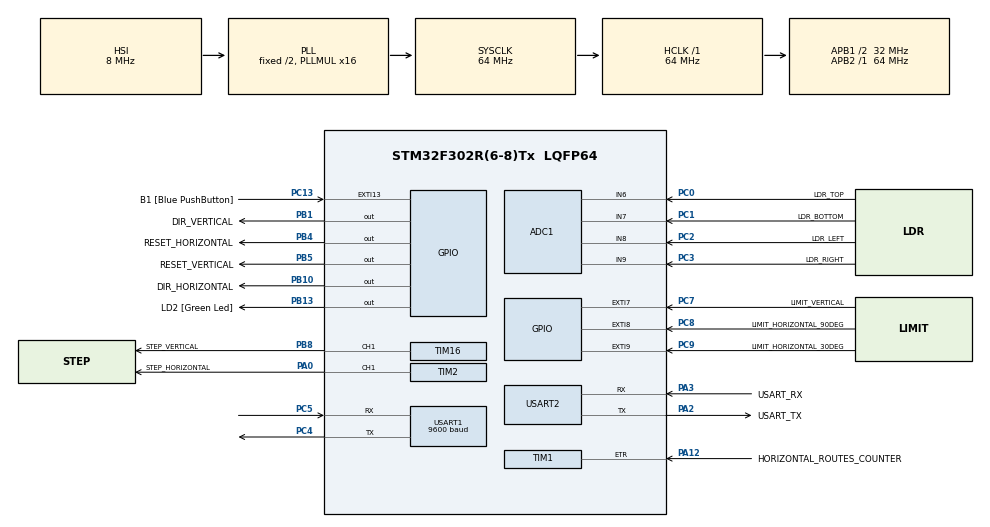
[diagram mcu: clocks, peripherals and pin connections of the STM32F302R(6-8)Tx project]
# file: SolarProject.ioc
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ADC1.Channel-0\#ChannelRegularConversion=ADC_CHANNEL_6
ADC1.Channel-1\#ChannelRegularConversion=ADC_CHANNEL_7
ADC1.Channel-2\#ChannelRegularConversion=ADC_CHANNEL_8
ADC1.Channel-3\#ChannelRegularConversion=ADC_CHANNEL_9
ADC1.ClockPrescaler=ADC_CLOCK_ASYNC_DIV1
ADC1.ContinuousConvMode=DISABLE
ADC1.DMAContinuousRequests=ENABLE
ADC1.NbrOfConversion=4
ADC1.NbrOfConversionFlag=1
ADC1.Offset-0\#ChannelRegularConversion=0
ADC1.Offset-1\#ChannelRegularConversion=0
ADC1.Offset-2\#ChannelRegularConversion=0
ADC1.Offset-3\#ChannelRegularConversion=0
ADC1.OffsetNumber-0\#ChannelRegularConversion=ADC_OFFSET_NONE
ADC1.OffsetNumber-1\#ChannelRegularConversion=ADC_OFFSET_NONE
ADC1.OffsetNumber-2\#ChannelRegularConversion=ADC_OFFSET_NONE
ADC1.OffsetNumber-3\#ChannelRegularConversion=ADC_OFFSET_NONE
ADC1.Rank-0\#ChannelRegularConversion=1
ADC1.Rank-1\#ChannelRegularConversion=2
ADC1.Rank-2\#ChannelRegularConversion=3
ADC1.Rank-3\#ChannelRegularConversion=4
ADC1.SamplingTime-0\#ChannelRegularConversion=ADC_SAMPLETIME_181CYCLES_5
ADC1.SamplingTime-1\#ChannelRegularConversion=ADC_SAMPLETIME_61CYCLES_5
ADC1.SamplingTime-2\#ChannelRegularConversion=ADC_SAMPLETIME_1CYCLE_5
ADC1.SamplingTime-3\#ChannelRegularConversion=ADC_SAMPLETIME_1CYCLE_5
ADC1.SamplingTimeOPAMP-1\#ChannelRegularConversion=ADC_SAMPLETIME_61CYCLES_5
ADC1.SamplingTimeOPAMP-2\#ChannelRegularConversion=ADC_SAMPLETIME_61CYCLES_5
ADC1.SamplingTimeOPAMP-3\#ChannelRegularConversion=ADC_SAMPLETIME_61CYCLES_5
ADC1.SubFamily=STM32F302x8
ADC1.master=1
Dma.ADC1.0.Direction=DMA_PERIPH_TO_MEMORY
Dma.ADC1.0.Instance=DMA1_Channel1
Dma.ADC1.0.MemDataAlignment=DMA_MDATAALIGN_HALFWORD
Dma.ADC1.0.MemInc=DMA_MINC_ENABLE
Dma.ADC1.0.Mode=DMA_NORMAL
Dma.ADC1.0.PeriphDataAlignment=DMA_PDATAALIGN_HALFWORD
Dma.ADC1.0.PeriphInc=DMA_PINC_DISABLE
Dma.ADC1.0.Priority=DMA_PRIORITY_LOW
Dma.Request0=ADC1
Dma.Request1=USART1_RX
Dma.Request2=USART1_TX
Dma.Request3=USART2_RX
Dma.USART1_RX.1.Direction=DMA_PERIPH_TO_MEMORY
Dma.USART1_RX.1.Instance=DMA1_Channel5
Dma.USART1_RX.1.MemDataAlignment=DMA_MDATAALIGN_BYTE
Dma.USART1_RX.1.MemInc=DMA_MINC_ENABLE
Dma.USART1_RX.1.Mode=DMA_NORMAL
Dma.USART1_RX.1.PeriphDataAlignment=DMA_PDATAALIGN_BYTE
Dma.USART1_RX.1.PeriphInc=DMA_PINC_DISABLE
Dma.USART1_RX.1.Priority=DMA_PRIORITY_VERY_HIGH
Dma.USART1_TX.2.Direction=DMA_MEMORY_TO_PERIPH
Dma.USART1_TX.2.Instance=DMA1_Channel4
Dma.USART1_TX.2.MemDataAlignment=DMA_MDATAALIGN_BYTE
Dma.USART1_TX.2.MemInc=DMA_MINC_ENABLE
Dma.USART1_TX.2.Mode=DMA_NORMAL
Dma.USART1_TX.2.PeriphDataAlignment=DMA_PDATAALIGN_BYTE
Dma.USART1_TX.2.PeriphInc=DMA_PINC_DISABLE
Dma.USART1_TX.2.Priority=DMA_PRIORITY_VERY_HIGH
Dma.USART2_RX.3.Direction=DMA_PERIPH_TO_MEMORY
Dma.USART2_RX.3.Instance=DMA1_Channel6
Dma.USART2_RX.3.MemDataAlignment=DMA_MDATAALIGN_BYTE
Dma.USART2_RX.3.MemInc=DMA_MINC_ENABLE
Dma.USART2_RX.3.Mode=DMA_NORMAL
Dma.USART2_RX.3.PeriphDataAlignment=DMA_PDATAALIGN_BYTE
Dma.USART2_RX.3.PeriphInc=DMA_PINC_DISABLE
Dma.USART2_RX.3.Priority=DMA_PRIORITY_LOW
FREERTOS.BinarySemaphores01=MotorControlSemaphore,Dynamic,NULL;LimiterSemaphore,Dynamic,NULL;RxUARTSemaphore,Dynamic,NULL
FREERTOS.Queues01=LDRResistance,10,LDRresistance_t,0,Dynamic,NULL,NULL
FREERTOS.Tasks01=RxUART,1,256,StartRxUART,Default,NULL,Dynamic,NULL,NULL;ADC2Resistance,0,128,StartADC2Resistance,Default,NULL,Dynamic,NULL,NULL;MotorControl,0,128,StartMotorControl,Default,NULL,Dynamic,NULL,NULL;LimiterHandling,1,128,StartLimiterHandling,Default,NULL,Dynamic,NULL,NULL;TxUART,0,128,StartTask05,Default,NULL,Dynamic,NULL,NULL
FREERTOS.configTOTAL_HEAP_SIZE=6000
FREERTOS.configUSE_RECURSIVE_MUTEXES=1
Mcu.Family=STM32F3
Mcu.Name=STM32F302R(6-8)Tx
Mcu.Package=LQFP64
NVIC.DMA1_Channel1_IRQn=true\:5\:0\:false\:false\:true\:true\:false\:true\:true
NVIC.DMA1_Channel4_IRQn=true\:5\:0\:false\:false\:true\:true\:false\:true\:true
NVIC.DMA1_Channel5_IRQn=true\:5\:0\:false\:false\:true\:true\:false\:true\:true
NVIC.DMA1_Channel6_IRQn=true\:5\:0\:false\:false\:true\:true\:false\:true\:true
NVIC.EXTI15_10_IRQn=true\:5\:0\:true\:false\:true\:true\:true\:true\:true
NVIC.EXTI9_5_IRQn=true\:5\:0\:true\:false\:true\:true\:true\:true\:true
NVIC.PriorityGroup=NVIC_PRIORITYGROUP_4
NVIC.TIM1_BRK_TIM15_IRQn=true\:5\:0\:false\:false\:true\:true\:true\:true\:true
NVIC.TIM1_UP_TIM16_IRQn=true\:5\:0\:false\:false\:true\:true\:true\:true\:true
NVIC.TIM6_DAC_IRQn=true\:15\:0\:true\:false\:true\:false\:false\:true\:true
NVIC.TimeBase=TIM6_DAC_IRQn
NVIC.TimeBaseIP=TIM6
NVIC.USART1_IRQn=true\:5\:0\:true\:false\:true\:true\:true\:true\:true
NVIC.USART2_IRQn=true\:5\:0\:false\:false\:true\:true\:true\:true\:true
PA0.GPIO_Label=STEP_HORIZONTAL
PA0.GPIO_PuPd=GPIO_PULLDOWN
PA0.Signal=S_TIM2_CH1_ETR
PA12.GPIO_Label=HORIZONTAL_ROUTES_COUNTER
PA12.Signal=S_TIM1_ETR
PA13.GPIO_Label=TMS
PA13.Mode=Serial_Wire
PA13.Signal=SYS_JTMS-SWDIO
PA14.GPIO_Label=TCK
PA14.Mode=Serial_Wire
PA14.Signal=SYS_JTCK-SWCLK
PA2.GPIO_Label=USART_TX
PA2.GPIO_Mode=GPIO_MODE_AF_PP
PA2.GPIO_PuPd=GPIO_NOPULL
PA2.GPIO_Speed=GPIO_SPEED_FREQ_LOW
PA2.Mode=Asynchronous
PA2.Signal=USART2_TX
PA3.GPIO_Label=USART_RX
PA3.GPIO_Mode=GPIO_MODE_AF_PP
PA3.GPIO_PuPd=GPIO_NOPULL
PA3.GPIO_Speed=GPIO_SPEED_FREQ_LOW
PA3.Mode=Asynchronous
PA3.Signal=USART2_RX
PB1.GPIO_Label=DIR_VERTICAL
PB1.GPIO_Speed=GPIO_SPEED_FREQ_HIGH
PB1.Signal=GPIO_Output
PB10.GPIO_Label=DIR_HORIZONTAL
PB10.Signal=GPIO_Output
PB13.GPIO_Label=LD2 [Green Led]
PB13.Signal=GPIO_Output
PB3.GPIO_Label=SWO
PB3.Mode=Trace_Asynchronous_SW
PB3.Signal=SYS_JTDO-TRACESWO
PB4.GPIO_Label=RESET_HORIZONTAL
PB4.GPIO_Speed=GPIO_SPEED_FREQ_HIGH
PB4.Signal=GPIO_Output
PB5.GPIO_Label=RESET_VERTICAL
PB5.GPIO_PuPd=GPIO_NOPULL
PB5.Signal=GPIO_Output
PB8.GPIO_Label=STEP_VERTICAL
PB8.GPIO_PuPd=GPIO_PULLDOWN
PB8.Signal=S_TIM16_CH1
PC0.GPIO_Label=LDR_TOP
PC0.Signal=ADCx_IN6
PC1.GPIO_Label=LDR_BOTTOM
PC1.Signal=ADCx_IN7
PC13.GPIO_Label=B1 [Blue PushButton]
PC13.GPIO_ModeDefaultEXTI=GPIO_MODE_IT_FALLING
PC13.Signal=GPXTI13
PC14\ -\ OSC32_IN.Mode=LSE-External-Oscillator
PC14\ -\ OSC32_IN.Signal=RCC_OSC32_IN
PC15\ -\ OSC32_OUT.Mode=LSE-External-Oscillator
PC15\ -\ OSC32_OUT.Signal=RCC_OSC32_OUT
PC2.GPIO_Label=LDR_LEFT
PC2.Signal=ADCx_IN8
PC3.GPIO_Label=LDR_RIGHT
PC3.Signal=ADCx_IN9
PC4.Mode=Asynchronous
PC4.Signal=USART1_TX
PC5.Mode=Asynchronous
PC5.Signal=USART1_RX
PC7.GPIO_Label=LIMIT_VERTICAL
PC7.GPIO_ModeDefaultEXTI=GPIO_MODE_IT_RISING_FALLING
PC7.GPIO_PuPd=GPIO_PULLDOWN
PC7.Signal=GPXTI7
PC8.GPIO_Label=LIMIT_HORIZONTAL_90DEG
PC8.GPIO_ModeDefaultEXTI=GPIO_MODE_IT_RISING_FALLING
PC8.GPIO_PuPd=GPIO_PULLDOWN
PC8.Signal=GPXTI8
PC9.GPIO_Label=LIMIT_HORIZONTAL_30DEG
PC9.GPIO_ModeDefaultEXTI=GPIO_MODE_IT_RISING_FALLING
PC9.GPIO_PuPd=GPIO_PULLDOWN
PC9.Signal=GPXTI9
PF0-OSC_IN.Mode=HSE-External-Clock-Source
PF0-OSC_IN.Signal=RCC_OSC_IN
PF1-OSC_OUT.Signal=RCC_OSC_OUT
ProjectManager.HeapSize=0x200
ProjectManager.StackSize=0x400
ProjectManager.TargetToolchain=STM32CubeIDE
RCC.AHBFreq_Value=64000000
RCC.APB1CLKDivider=RCC_HCLK_DIV2
RCC.APB1Freq_Value=32000000
RCC.APB1TimFreq_Value=64000000
RCC.APB2Freq_Value=64000000
RCC.APB2TimFreq_Value=64000000
RCC.CortexFreq_Value=64000000
RCC.HCLKFreq_Value=64000000
RCC.HSE_VALUE=8000000
RCC.HSI_VALUE=8000000
RCC.PLLM=8
RCC.PLLMUL=RCC_PLL_MUL16
RCC.PLLN=336
RCC.PLLP=RCC_PLLP_DIV4
RCC.PLLQ=7
RCC.RCC_PLLsource_Clock_Source_FROM_HSE=RCC_HSE_PREDIV_DIV2
RCC.SYSCLKFreq_VALUE=64000000
RCC.SYSCLKSourceVirtual=RCC_SYSCLKSOURCE_PLLCLK
RCC.USBFreq_Value=64000000
SH.ADCx_IN6.0=ADC1_IN6,IN6-Single-Ended
SH.ADCx_IN7.0=ADC1_IN7,IN7-Single-Ended
SH.ADCx_IN8.0=ADC1_IN8,IN8-Single-Ended
SH.ADCx_IN9.0=ADC1_IN9,IN9-Single-Ended
SH.S_TIM16_CH1.0=TIM16_CH1,PWM Generation1 CH1
SH.S_TIM1_ETR.0=TIM1_ETR,TriggerSource_ETR
SH.S_TIM2_CH1_ETR.0=TIM2_CH1,PWM Generation1 CH1
TIM1.AutoReloadPreload=TIM_AUTORELOAD_PRELOAD_ENABLE
TIM1.Period=53-1
TIM1.Prescaler=0
TIM1.RepetitionCounter=0
TIM1.TIM_MasterOutputTrigger=TIM_TRGO_RESET
TIM1.TIM_MasterSlaveMode=TIM_MASTERSLAVEMODE_DISABLE
TIM15.AutoReloadPreload=TIM_AUTORELOAD_PRELOAD_ENABLE
TIM15.Period=1976 - 1
TIM15.Prescaler=0
TIM15.RepetitionCounter=0
TIM15.TIM_MasterOutputTrigger=TIM_TRGO_RESET
TIM16.Channel=TIM_CHANNEL_1
TIM16.Period=1999
TIM16.Prescaler=63
TIM16.Pulse=1000
TIM2.AutoReloadPreload=TIM_AUTORELOAD_PRELOAD_ENABLE
TIM2.Channel-Forced\ Output2\ CH2=TIM_CHANNEL_2
TIM2.Channel-PWM\ Generation1\ CH1=TIM_CHANNEL_1
TIM2.Period=999
TIM2.Prescaler=63
TIM2.Pulse-PWM\ Generation1\ CH1=500
TIM2.TIM_MasterOutputTrigger=TIM_TRGO_UPDATE
TIM2.TIM_MasterSlaveMode=TIM_MASTERSLAVEMODE_ENABLE
USART1.BaudRate=9600
USART1.VirtualMode-Asynchronous=VM_ASYNC
USART2.VirtualMode-Asynchronous=VM_ASYNC
VP_FREERTOS_VS_CMSIS_V1.Mode=CMSIS_V1
VP_SYS_VS_tim6.Mode=TIM6
VP_TIM15_VS_ClockSourceITR.Mode=TriggerSource_ITR0
VP_TIM15_VS_ControllerModeClock.Mode=Clock Mode
VP_TIM16_VS_ClockSourceINT.Mode=Enable_Timer
VP_TIM1_VS_ControllerModeClock.Mode=Clock Mode
VP_TIM2_VS_ClockSourceINT.Mode=Internal
board=NUCLEO-F302R8

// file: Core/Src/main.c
/* USER CODE BEGIN Header */
/**
  ******************************************************************************
  * @file           : main.c
  * @brief          : Main program body
  ******************************************************************************
  * @attention
  *
  * Copyright (c) 2024 STMicroelectronics.
  * All rights reserved.
  *
  * This software is licensed under terms that can be found in the LICENSE file
  * in the root directory of this software component.
  * If no LICENSE file comes with this software, it is provided AS-IS.
  *
  ******************************************************************************
  */
/* USER CODE END Header */
#include "main.h"
#include "cmsis_os.h"
#include "adc.h"
#include "dma.h"
#include "tim.h"
#include "usart.h"
#include "gpio.h"

/* USER CODE BEGIN Includes */
#include "FreeRTOSConfig.h"
#include "FreeRTOS.h"
#include <Service/dataType.h>
#include <Service/uartService.h>
#include <Service/sensorService.h>
#include <Service/motorService.h>

/* USER CODE END Includes */

void SystemClock_Config(void);
void MX_FREERTOS_Init(void);
/* USER CODE BEGIN PFP */
void MotorandModeInit(MotorState_t* HorizontalMotor, MotorState_t* VerticalMotor, ModeState_t* ModeState);
/* USER CODE END PFP */

/* USER CODE BEGIN 0 */
extern osSemaphoreId MotorControlSemaphoreHandle;
extern osSemaphoreId LimiterSemaphoreHandle;
extern osSemaphoreId RxUARTSemaphoreHandle;

extern volatile MotorState_t* horizontalMotorHandle;
extern volatile MotorState_t* verticalMotorHandle;
extern volatile ModeState_t* modeStateHandle;

extern volatile uint8_t limitSwitch[3];
volatile uint8_t initializeFlag;

/*-------------UART TRANSMITION--------*/
extern volatile uint8_t RxBuffor[9];
volatile uint8_t RxBuffor2[9];

void HAL_GPIO_EXTI_Callback(uint16_t GPIO_Pin)
{

	BaseType_t xHigherPriorityTaskWoken = pdFALSE;

	if (GPIO_Pin == LIMIT_HORIZONTAL_30DEG_Pin || GPIO_Pin == LIMIT_HORIZONTAL_90DEG_Pin ||  GPIO_Pin == LIMIT_VERTICAL_Pin)
	{
		if (initializeFlag == 0)
		{
			SensorServiceReadLimiter(limitSwitch);
		}
		else
		{
			xSemaphoreGiveFromISR(MotorControlSemaphoreHandle, &xHigherPriorityTaskWoken);
			xSemaphoreGiveFromISR(LimiterSemaphoreHandle, &xHigherPriorityTaskWoken);
		}
	}
}

void HAL_UART_RxCpltCallback(UART_HandleTypeDef *huart)
{
	if (huart->Instance == USART1)
	{
		HAL_UART_Receive_DMA(&huart1, RxBuffor, 9);
		BaseType_t xHigherPriorityTaskWoken = pdFALSE;
		xSemaphoreGiveFromISR(RxUARTSemaphoreHandle, &xHigherPriorityTaskWoken);
	}
}

void MotorandModeInit(MotorState_t* HorizontalMotor, MotorState_t* VerticalMotor, ModeState_t* ModeState)
{
	MotorServiceMotorInit(HorizontalMotor, VerticalMotor, ModeState);
	SensorServiceReadLimiter(limitSwitch);

	while (limitSwitch[0] || limitSwitch[2])
	{
		MotorServiceMotorHoming(HorizontalMotor, limitSwitch);
		MotorServiceMotorHoming(VerticalMotor, limitSwitch);
	}

	HorizontalMotor->CURRENTPOSITION = 30;
	VerticalMotor->CURRENTPOSITION = 0;
	initializeFlag = 1;
}

/* USER CODE END 0 */

int main(void)
{

  /* MCU Configuration--------------------------------------------------------*/

  /* Reset of all peripherals, Initializes the Flash interface and the Systick. */
  HAL_Init();

  /* Configure the system clock */
  SystemClock_Config();

  /* Initialize all configured peripherals */
  MX_GPIO_Init();
  MX_DMA_Init();
  MX_USART2_UART_Init();
  MX_ADC1_Init();
  MX_TIM1_Init();
  MX_TIM15_Init();
  MX_TIM2_Init();
  MX_USART1_UART_Init();
  MX_TIM16_Init();
  /* USER CODE BEGIN 2 */
  HAL_TIM_Base_Start_IT(&htim15); // counting the PWM impulse from TIM2
  HAL_TIM_Base_Start_IT(&htim1); // counting the PWM impulse from TIM16

  MotorandModeInit(horizontalMotorHandle, verticalMotorHandle, modeStateHandle);
  HAL_UART_Receive_DMA(&huart1, RxBuffor, 9);
  /* USER CODE END 2 */

  /* Call init function for freertos objects (in freertos.c) */
  MX_FREERTOS_Init();

  /* Start scheduler */
  osKernelStart();

  /* We should never get here as control is now taken by the scheduler */
  /* Infinite loop */
  while (1)
  {

  }
}

void SystemClock_Config(void)
{
  RCC_OscInitTypeDef RCC_OscInitStruct = {0};
  RCC_ClkInitTypeDef RCC_ClkInitStruct = {0};
  RCC_PeriphCLKInitTypeDef PeriphClkInit = {0};

  /** Initializes the RCC Oscillators according to the specified parameters
  * in the RCC_OscInitTypeDef structure.
  */
  RCC_OscInitStruct.OscillatorType = RCC_OSCILLATORTYPE_HSI;
  RCC_OscInitStruct.HSIState = RCC_HSI_ON;
  RCC_OscInitStruct.HSICalibrationValue = RCC_HSICALIBRATION_DEFAULT;
  RCC_OscInitStruct.PLL.PLLState = RCC_PLL_ON;
  RCC_OscInitStruct.PLL.PLLSource = RCC_PLLSOURCE_HSI;
  RCC_OscInitStruct.PLL.PLLMUL = RCC_PLL_MUL16;
  if (HAL_RCC_OscConfig(&RCC_OscInitStruct) != HAL_OK)
  {
    Error_Handler();
  }

  /** Initializes the CPU, AHB and APB buses clocks
  */
  RCC_ClkInitStruct.ClockType = RCC_CLOCKTYPE_HCLK|RCC_CLOCKTYPE_SYSCLK
                              |RCC_CLOCKTYPE_PCLK1|RCC_CLOCKTYPE_PCLK2;
  RCC_ClkInitStruct.SYSCLKSource = RCC_SYSCLKSOURCE_PLLCLK;
  RCC_ClkInitStruct.AHBCLKDivider = RCC_SYSCLK_DIV1;
  RCC_ClkInitStruct.APB1CLKDivider = RCC_HCLK_DIV2;
  RCC_ClkInitStruct.APB2CLKDivider = RCC_HCLK_DIV1;

  if (HAL_RCC_ClockConfig(&RCC_ClkInitStruct, FLASH_LATENCY_2) != HAL_OK)
  {
    Error_Handler();
  }
  PeriphClkInit.PeriphClockSelection = RCC_PERIPHCLK_USART1|RCC_PERIPHCLK_TIM1
                              |RCC_PERIPHCLK_TIM15|RCC_PERIPHCLK_TIM16
                              |RCC_PERIPHCLK_ADC1;
  PeriphClkInit.Usart1ClockSelection = RCC_USART1CLKSOURCE_PCLK1;
  PeriphClkInit.Tim1ClockSelection = RCC_TIM1CLK_HCLK;
  PeriphClkInit.Tim15ClockSelection = RCC_TIM15CLK_HCLK;
  PeriphClkInit.Tim16ClockSelection = RCC_TIM16CLK_HCLK;
  PeriphClkInit.Adc1ClockSelection = RCC_ADC1PLLCLK_DIV1;

  if (HAL_RCCEx_PeriphCLKConfig(&PeriphClkInit) != HAL_OK)
  {
    Error_Handler();
  }
}

void HAL_TIM_PeriodElapsedCallback(TIM_HandleTypeDef *htim)
{
  if (htim->Instance == TIM6) {
    HAL_IncTick();
  }
  /* USER CODE BEGIN Callback 1 */
  if (htim->Instance == TIM15)
  {
	 MotorServiceHorizontalCurrentPosition(horizontalMotorHandle);
  }
  if (htim->Instance == TIM1)
  {
	 MotorServiceVerticalCurrentPosition(verticalMotorHandle);
  }
  /* USER CODE END Callback 1 */
}

void Error_Handler(void)
{
  __disable_irq();
  while (1)
  {
  }
}

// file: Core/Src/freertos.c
/* USER CODE BEGIN Header */
/**
  ******************************************************************************
  * File Name          : freertos.c
  * Description        : Code for freertos applications
  ******************************************************************************
  * @attention
  *
  * Copyright (c) 2024 STMicroelectronics.
  * All rights reserved.
  *
  * This software is licensed under terms that can be found in the LICENSE file
  * in the root directory of this software component.
  * If no LICENSE file comes with this software, it is provided AS-IS.
  *
  ******************************************************************************
  */
/* USER CODE END Header */

#include "FreeRTOS.h"
#include "task.h"
#include "main.h"
#include "cmsis_os.h"

/* USER CODE BEGIN Includes */
#include <Service/dataType.h>
#include <Service/sensorService.h>
#include <Service/motorService.h>
#include "adc.h"
/* USER CODE END Includes */

/* USER CODE BEGIN Variables */
extern volatile uint8_t limitSwitch[3];
extern volatile MotorState_t* horizontalMotorHandle;
extern volatile MotorState_t* verticalMotorHandle;
extern volatile ModeState_t* modeStateHandle;
extern volatile uint32_t measurement[4];
extern volatile uint8_t RxBuffor[9];

/* USER CODE END Variables */
osThreadId RxUARTHandle;
osThreadId ADC2ResistanceHandle;
osThreadId MotorControlHandle;
osThreadId LimiterHandlingHandle;
osThreadId TxUARTHandle;
osMessageQId LDRResistanceHandle;
osSemaphoreId MotorControlSemaphoreHandle;
osSemaphoreId LimiterSemaphoreHandle;
osSemaphoreId RxUARTSemaphoreHandle;

void StartRxUART(void const * argument);
void StartADC2Resistance(void const * argument);
void StartMotorControl(void const * argument);
void StartLimiterHandling(void const * argument);
void StartTask05(void const * argument);

void MX_FREERTOS_Init(void); /* (MISRA C 2004 rule 8.1) */

/* GetIdleTaskMemory prototype (linked to static allocation support) */
void vApplicationGetIdleTaskMemory( StaticTask_t **ppxIdleTaskTCBBuffer, StackType_t **ppxIdleTaskStackBuffer, uint32_t *pulIdleTaskStackSize );

/* USER CODE BEGIN GET_IDLE_TASK_MEMORY */
static StaticTask_t xIdleTaskTCBBuffer;
static StackType_t xIdleStack[configMINIMAL_STACK_SIZE];

void vApplicationGetIdleTaskMemory( StaticTask_t **ppxIdleTaskTCBBuffer, StackType_t **ppxIdleTaskStackBuffer, uint32_t *pulIdleTaskStackSize )
{
  *ppxIdleTaskTCBBuffer = &xIdleTaskTCBBuffer;
  *ppxIdleTaskStackBuffer = &xIdleStack[0];
  *pulIdleTaskStackSize = configMINIMAL_STACK_SIZE;
  /* place for user code */
}
/* USER CODE END GET_IDLE_TASK_MEMORY */

void MX_FREERTOS_Init(void) {

  /* Create the semaphores(s) */
  /* definition and creation of MotorControlSemaphore */
  osSemaphoreDef(MotorControlSemaphore);
  MotorControlSemaphoreHandle = osSemaphoreCreate(osSemaphore(MotorControlSemaphore), 1);

  /* definition and creation of LimiterSemaphore */
  osSemaphoreDef(LimiterSemaphore);
  LimiterSemaphoreHandle = osSemaphoreCreate(osSemaphore(LimiterSemaphore), 1);

  /* definition and creation of RxUARTSemaphore */
  osSemaphoreDef(RxUARTSemaphore);
  RxUARTSemaphoreHandle = osSemaphoreCreate(osSemaphore(RxUARTSemaphore), 1);

  /* Create the queue(s) */
  /* definition and creation of LDRResistance */
  osMessageQDef(LDRResistance, 10, LDRresistance_t);
  LDRResistanceHandle = osMessageCreate(osMessageQ(LDRResistance), NULL);

  /* Create the thread(s) */
  /* definition and creation of RxUART */
  osThreadDef(RxUART, StartRxUART, osPriorityAboveNormal, 0, 256);
  RxUARTHandle = osThreadCreate(osThread(RxUART), NULL);

  /* definition and creation of ADC2Resistance */
  osThreadDef(ADC2Resistance, StartADC2Resistance, osPriorityNormal, 0, 128);
  ADC2ResistanceHandle = osThreadCreate(osThread(ADC2Resistance), NULL);

  /* definition and creation of MotorControl */
  osThreadDef(MotorControl, StartMotorControl, osPriorityNormal, 0, 128);
  MotorControlHandle = osThreadCreate(osThread(MotorControl), NULL);

  /* definition and creation of LimiterHandling */
  osThreadDef(LimiterHandling, StartLimiterHandling, osPriorityAboveNormal, 0, 128);
  LimiterHandlingHandle = osThreadCreate(osThread(LimiterHandling), NULL);

  /* definition and creation of TxUART */
  osThreadDef(TxUART, StartTask05, osPriorityNormal, 0, 128);
  TxUARTHandle = osThreadCreate(osThread(TxUART), NULL);

}

void StartRxUART(void const * argument)
{
  /* USER CODE BEGIN StartRxUART */
	xSemaphoreTake(RxUARTSemaphoreHandle, portMAX_DELAY );
  /* Infinite loop */
  for(;;)
  {
	  if(xSemaphoreTake(RxUARTSemaphoreHandle, portMAX_DELAY ) == pdTRUE)
	  {
		  uartServiceManualModePositionSettings(modeStateHandle, RxBuffor);
	  }
  }
  /* USER CODE END StartRxUART */
}

void StartADC2Resistance(void const * argument)
{
  /* USER CODE BEGIN StartADC2Resistance */
  /* Infinite loop */
	LDRresistance_t LDRresistance = {0};
  /* Infinite loop */
  for(;;)
  {
	  HAL_ADC_Start_DMA(&hadc1, (uint32_t*) measurement, 4);
	  SensorServiceADC2Resistance((uint16_t*) measurement, &LDRresistance);
	  xQueueSend(LDRResistanceHandle, &LDRresistance, 0);
	  osDelay(10);
  }
  /* USER CODE END StartADC2Resistance */
}

void StartMotorControl(void const * argument)
{
  /* USER CODE BEGIN StartMotorControl */
	LDRresistance_t resistance = {0};
  /* Infinite loop */
  for(;;)
  {
	if(osSemaphoreGetCount(MotorControlSemaphoreHandle) > 0)
	{
		xQueueReceive(LDRResistanceHandle, &resistance, 0);

		if (modeStateHandle->MODE == MANUAL)
		{
			MotorServiceManualMode(modeStateHandle, horizontalMotorHandle);
			MotorServiceManualMode(modeStateHandle, verticalMotorHandle);
		}
		else
		{
			MotorServiceAutoMode(&resistance, limitSwitch, horizontalMotorHandle);
			MotorServiceAutoMode(&resistance, limitSwitch, verticalMotorHandle);
		}
		osDelay(10);
	}
  }
  /* USER CODE END StartMotorControl */
}

void StartLimiterHandling(void const * argument)
{
  /* USER CODE BEGIN StartLimiterHandling */
	xSemaphoreTake(LimiterSemaphoreHandle, portMAX_DELAY );
  /* Infinite loop */
  for(;;)
  {
	  if(xSemaphoreTake(LimiterSemaphoreHandle, portMAX_DELAY ) == pdTRUE)
	  {
		  SensorServiceReadLimiter(limitSwitch);
		  MotorServiceMotorStop(horizontalMotorHandle);
		  MotorServiceMotorStop(verticalMotorHandle);
	  }
  }
  /* USER CODE END StartLimiterHandling */
}

void StartTask05(void const * argument)
{
  /* USER CODE BEGIN StartTask05 */
  /* Infinite loop */
  for(;;)
  {
	  uartServiceSendCurrentPosition(horizontalMotorHandle, verticalMotorHandle);
	  osDelay(1000);
  }
  /* USER CODE END StartTask05 */
}
